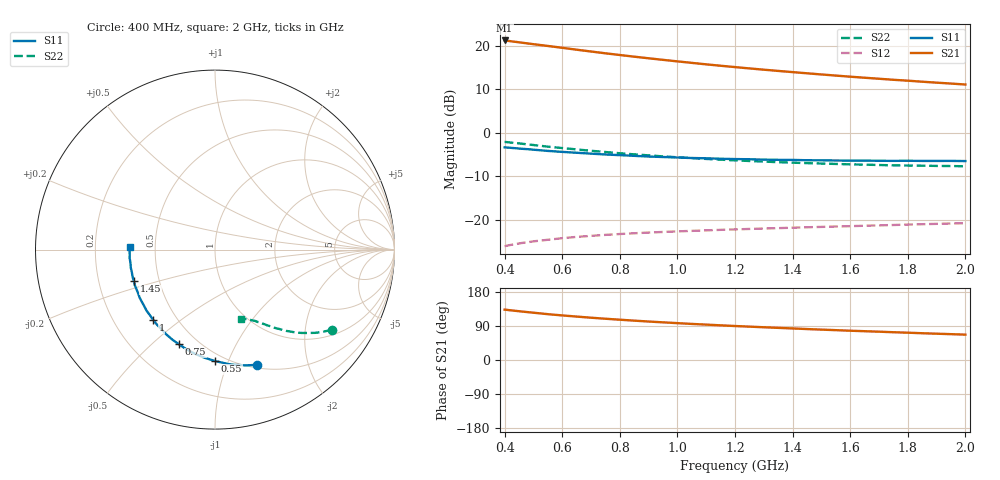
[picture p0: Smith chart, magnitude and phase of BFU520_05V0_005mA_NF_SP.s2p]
! Filename:  P:\Prog\Test\Noise\ATS_data\Testdata_Net\06 Compressed Noise after Statistics\BFU520_APG2013_37_A05_05p0V_005mA_NF_CM01_D.sf
! Date/Time: Fri 26/Apr/2013 14:13:10
! BFU520_APG2013_37_A05_05p0V_1to20mA_NF_CM01_Bias4_R.sf
! Noise Parameter Data File
! BFU520_APG2013_37_A05_05p0V_1to20mA_NF_CM01
! Date/time: Tue Apr 23 16:46:24 2013
! VAR V_out= 5.000000
! VAR I_out= 4.995000
! VAR V_in= 0.827200
! VAR I_in= 0.056405
! Device data file deembeded for feedlines and parallel
! Original file: \06 Compressed Noise after Statistics\BFU520_APG2013_37_A05_05p0V_005mA_NF_CM01_R.sf
! Feed-files: PR047V01_250413_Feed1.s2p, PR047V01_250413_Feed2.s2p
! Parallel-file: PR047V01_250413_Par.s2p
# MHz S MA R 50
!  Freq-MHz  S11-mag  S11-arg  S21-mag  S21-arg  S12-mag  S12-arg  S22-mag  S22-arg
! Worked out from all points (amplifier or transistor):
!   37 points, 400 MHz to 2 GHz, reference 50 ohm
!   highest |S21| = 21.3 dB at 400 MHz (marker M1)
!   |S21| within 3 dB of that: start of sweep to 755.9 MHz
!   unconditionally stable (mu >= 1): nowhere
!   at 500 MHz: K = 0.30, MSG = 22.7 dB, |S12| = -24.9 dB
!   at 1.1 GHz: K = 0.61, MSG = 19.1 dB, |S12| = -22.4 dB
!   at 2 GHz: K = 0.94, MSG = 15.9 dB, |S12| = -20.8 dB
!   lowest NFmin = 0.67 dB at 420 MHz
!   S11 on the Smith chart (normalised r, x): 400 MHz: 0.53, -1.28; 550 MHz: 0.44, -0.90; 750 MHz: 0.40, -0.61; 1 GHz: 0.37, -0.40; 1.45 GHz: 0.36, -0.16; 2 GHz: 0.36, +0.01
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400  0.6826 -70.0  11.56 132.9  0.04981 56.1  0.7882 -34.5
440  0.6657 -75.6  11.13 129.5  0.05279 54.0  0.7627 -36.7
460  0.6567 -78.3  10.9 127.9  0.05419 52.9  0.7511 -37.8
500  0.6411 -83.6  10.48 124.8  0.05659 51.1  0.7256 -39.7
550  0.6207 -90.0  9.998 121.0  0.05901 49.0  0.6947 -42.0
600  0.6049 -95.7  9.524 117.7  0.06154 47.4  0.6698 -43.9
650  0.5911 -101.0  9.054 114.6  0.06369 45.9  0.6456 -45.7
700  0.5773 -106.1  8.632 111.6  0.06542 44.5  0.6229 -47.2
750  0.5645 -111.0  8.231 108.9  0.06718 43.5  0.603 -48.7
800  0.5547 -115.5  7.869 106.3  0.06871 42.5  0.5836 -50.0
850  0.5448 -119.8  7.528 103.9  0.07011 41.6  0.5668 -51.2
900  0.5343 -124.1  7.213 101.5  0.07142 40.9  0.5519 -52.4
950  0.5283 -127.9  6.92 99.4  0.07254 40.4  0.5367 -53.4
1000  0.5213 -131.4  6.645 97.3  0.0737 39.9  0.5245 -54.4
1100  0.5107 -138.3  6.143 93.4  0.0757 39.1  0.5019 -56.2
1200  0.5002 -144.9  5.713 89.7  0.07765 38.5  0.4831 -58.0
1300  0.4924 -150.6  5.334 86.4  0.07949 38.2  0.4677 -59.5
1450  0.4849 -158.8  4.847 81.7  0.08216 38.0  0.4492 -61.8
1500  0.4842 -161.1  4.7 80.2  0.08296 38.0  0.4442 -62.5
1600  0.4794 -166.0  4.431 77.3  0.08463 38.1  0.4349 -64.0
1750  0.4769 -172.4  4.082 73.3  0.08726 38.4  0.4236 -66.1
2000  0.4743 178.1  3.6 66.9  0.09149 39.0  0.4133 -69.9
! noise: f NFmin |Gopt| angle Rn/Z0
400  0.7378  0.1895  23.96  0.1367
460  0.6848  0.1599  27.82  0.1179
600  0.7668  0.1889  26.73  0.1356
800  0.7316  0.1794  47.66  0.1212
1000  0.7962  0.1794  60.99  0.1129
1200  0.8197  0.1812  74.75  0.1107
1400  0.8598  0.1852  87.83  0.0979
1600  0.863  0.1809  102.2  0.0994
1800  0.8112  0.1914  121.9  0.0867
2000  0.8948  0.1989  133.7  0.0931
